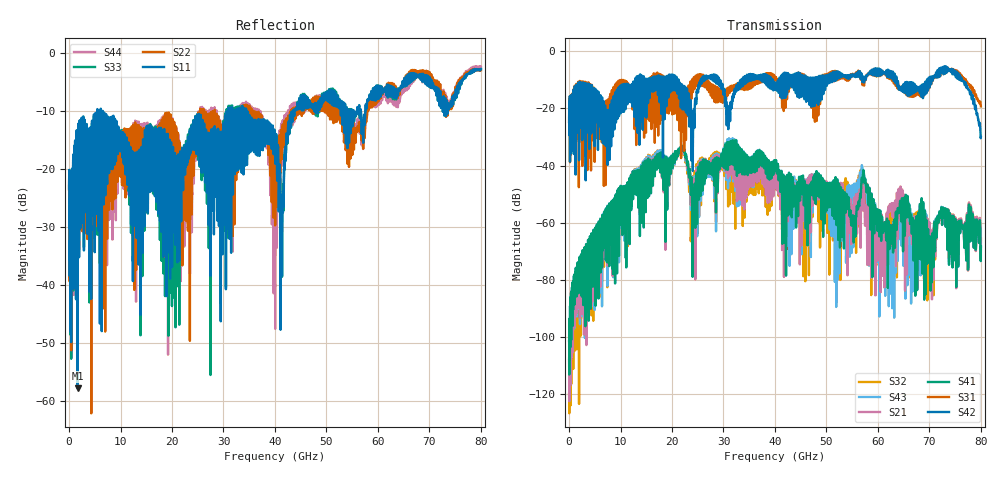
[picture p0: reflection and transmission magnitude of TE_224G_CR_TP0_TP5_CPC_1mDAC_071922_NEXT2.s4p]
!! Reference: tracy_3df_01_2211
!! CHANNEL DESCRIPTION: TP0_TP5 CR Channel using 1meter DAC, CoPackage Copper Host
!! MODEL DESCRIPTION: s4p, NEXT2
!! CONNECTOR DESCRIPTION: OSFP 200G OTB
!! CABLE DESCRIPTION: 1meter 26AWG Cable
!! MODEL STATUS: Developmental
!! PORT DEFINITIONS:
!! Port  1  ----->  Side A  Side B  <-----  Port  2
!! Port  3  ----->  Side A  Side B  <-----  Port  4
# Hz S MA R 50
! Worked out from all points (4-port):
!   8000 points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, 10 MHz to 80 GHz, reference 50 ohm
!   strongest paths, dB at 10 MHz, 20.01 GHz, 40.01 GHz, 60.01 GHz, 80 GHz:
!     S42: -24.7, -13.1, -13.4, -8.4, -30.0
!     S31: -24.6, -20.2, -10.1, -8.2, -19.3
!     S41: -101.4, -39.3, -41.5, -58.8, -68.4
!     S21: -107.4, -38.9, -47.5, -56.5, -65.6
!     S43: -108.0, -38.9, -43.7, -61.5, -68.2
!     S32: -119.7, -38.5, -46.9, -56.0, -65.5
!   lowest |S11| = -57.8 dB at 1.64 GHz (marker M1), VSWR 1.00, Z = 49.9 - j0.00388 ohm
!   |S11| at or under -10 dB: start of sweep to 5.488 GHz; 6.171 GHz to 30.97 GHz (24.8 GHz wide, 134 % of centre); 34.4 GHz to 43.55 GHz (9.158 GHz wide, 23.5 % of centre)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
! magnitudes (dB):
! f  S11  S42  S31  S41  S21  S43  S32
! 10 MHz  -23.3  -24.7  -24.6  -101.4  -107.4  -108.0  -119.7
! 1.64 GHz  -57.8  -21.1  -19.6  -82.2  -86.5  -85.7  -90.3
! 21.83 GHz  -21.6  -13.0  -21.0  -33.4  -33.7  -33.8  -34.1
! 56.94 GHz  -12.1  -10.5  -10.8  -45.1  -48.0  -40.2  -44.2
! 62.45 GHz  -5.8  -9.2  -9.8  -60.9  -54.7  -84.7  -67.2
! 73.22 GHz  -10.9  -5.3  -5.6  -59.3  -59.7  -59.3  -59.8
! 80 GHz  -2.9  -30.0  -19.3  -68.4  -65.6  -68.2  -65.5
